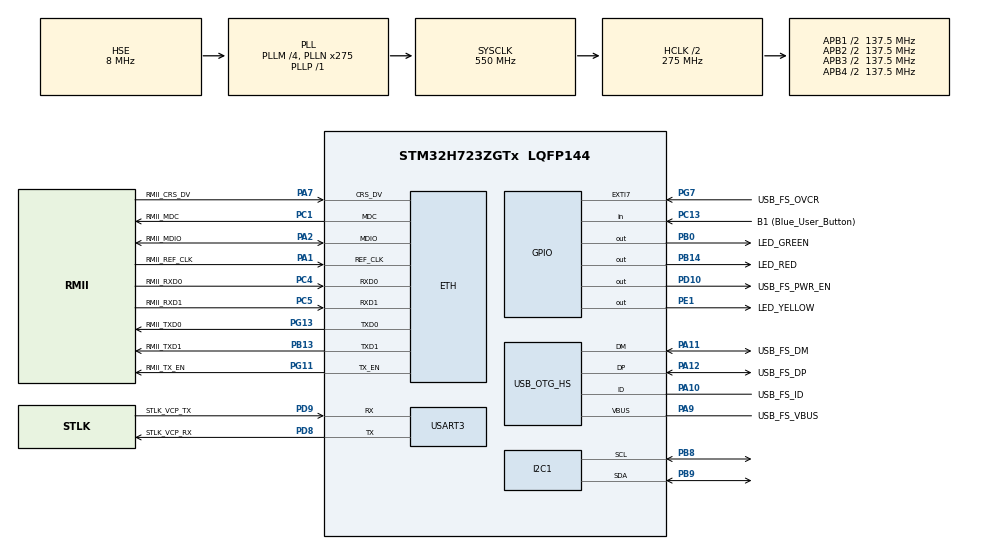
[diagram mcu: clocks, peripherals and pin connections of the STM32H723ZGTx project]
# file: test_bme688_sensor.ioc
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Mcu.Family=STM32H7
PH0-OSC_IN.Signal=RCC_OSC_IN
RCC.CortexFreq_Value=550000000
RCC.HPRE=RCC_HCLK_DIV2
PB14.GPIO_Label=LED_RED
RCC.PLLFRACN=0
PA13(JTMS/SWDIO).Signal=DEBUG_JTMS-SWDIO
PA11.Mode=OTG/Dual-Role-Device-FS
PB0.GPIO_Label=LED_GREEN
PC5.Mode=RMII
PC13.GPIO_Label=B1 (Blue_User_Button)
PB13.GPIO_Label=RMII_TXD1
PB13.Signal=ETH_TXD1
PG13.Signal=ETH_TXD0
PD9.Mode=Asynchronous
PG11.Signal=ETH_TX_EN
RCC.SYSCLKSource=RCC_SYSCLKSOURCE_PLLCLK
ProjectManager.StackSize=0x400
PA13(JTMS/SWDIO).Mode=Trace_Asynchronous_SW
USART3.VirtualMode-Asynchronous=VM_ASYNC
PA12.Signal=USB_OTG_HS_DP
RCC.HCLKFreq_Value=275000000
PD8.Signal=USART3_TX
PE1.Signal=GPIO_Output
PB3(JTDO/TRACESWO).GPIO_Label=SWO
PH0-OSC_IN.Mode=HSE-External-Clock-Source
PH0-OSC_IN.GPIO_Label=MCO
RCC.HSE_VALUE=8000000
RCC.DIVM2=1
RCC.DIVM1=4
PC14-OSC32_IN.Mode=LSE-External-Oscillator
PA14(JTCK/SWCLK).GPIO_Label=SWCLK
PC4.GPIO_Label=RMII_RXD0
PB3(JTDO/TRACESWO).Signal=DEBUG_JTDO-SWO
PA10.GPIO_Label=USB_FS_ID
PG13.Mode=RMII
RCC.APB3Freq_Value=137500000
PB9.Signal=I2C1_SDA
Mcu.Package=LQFP144
RCC.D1PPRE=RCC_APB3_DIV2
PB3(JTDO/TRACESWO).Mode=Trace_Asynchronous_SW
PA2.GPIO_Label=RMII_MDIO
PA10.Signal=USB_OTG_HS_ID
RCC.APB4Freq_Value=137500000
PA13(JTMS/SWDIO).GPIO_Label=SWDIO
PG11.GPIO_Label=RMII_TX_EN
PC5.Signal=ETH_RXD1
PB13.Mode=RMII
PC4.Mode=RMII
RCC.PLLSourceVirtual=RCC_PLLSOURCE_HSE
PC15-OSC32_OUT.Mode=LSE-External-Oscillator
RCC.DIVQ1=4
PA7.Mode=RMII
PG7.Signal=GPXTI7
PD9.GPIO_Label=STLK_VCP_TX
PA10.Mode=OTG/Dual-Role-Device-FS
PC13.Signal=GPIO_Input
PA9.GPIO_Label=USB_FS_VBUS
PC4.Signal=ETH_RXD0
RCC.D2PPRE2=RCC_APB2_DIV2
PA11.GPIO_Label=USB_FS_DM
RCC.D2PPRE1=RCC_APB1_DIV2
PD9.Signal=USART3_RX
RCC.DIVP1=1
PC14-OSC32_IN.Signal=RCC_OSC32_IN
PG13.GPIO_Label=RMII_TXD0
PA12.GPIO_Label=USB_FS_DP
PD8.GPIO_Label=STLK_VCP_RX
PD10.Signal=GPIO_Output
PA9.Mode=Activate_VBUS_FS
ProjectManager.TargetToolchain=STM32CubeIDE
PB9.Mode=I2C
PA9.Signal=USB_OTG_HS_VBUS
RCC.DIVN2=19
I2C1.Timing=0x60404E72
RCC.DIVN1=275
RCC.USBFreq_Value=48000000
PD10.GPIO_Label=USB_FS_PWR_EN
PD8.Mode=Asynchronous
PC15-OSC32_OUT.Signal=RCC_OSC32_OUT
PA1.Signal=ETH_REF_CLK
PB14.Signal=GPIO_Output
RCC.USBCLockSelection=RCC_USBCLKSOURCE_HSI48
board=NUCLEO-H723ZG
PE1.GPIO_Label=LED_YELLOW
RCC.APB2Freq_Value=137500000
PA1.Mode=RMII
PG7.GPIO_Label=USB_FS_OVCR
RCC.ADCFreq_Value=76000000
PA1.GPIO_Label=RMII_REF_CLK
PC1.GPIO_Label=RMII_MDC
PH1-OSC_OUT.Signal=RCC_OSC_OUT
PA14(JTCK/SWCLK).Mode=Trace_Asynchronous_SW
Mcu.Name=STM32H723ZGTx
PA2.Signal=ETH_MDIO
RCC.SYSCLKFreq_VALUE=550000000
ETH.MediaInterface=HAL_ETH_RMII_MODE
PA7.GPIO_Label=RMII_CRS_DV
PA12.Mode=OTG/Dual-Role-Device-FS
PC5.GPIO_Label=RMII_RXD1
PG11.Mode=RMII
PA11.Signal=USB_OTG_HS_DM
ProjectManager.HeapSize=0x200
NVIC.PriorityGroup=NVIC_PRIORITYGROUP_4
PB8.Mode=I2C
PA2.Mode=RMII
PB8.Signal=I2C1_SCL
RCC.D3PPRE=RCC_APB4_DIV2
PA14(JTCK/SWCLK).Signal=DEBUG_JTCK-SWCLK
RCC.APB1Freq_Value=137500000
PB0.Signal=GPIO_Output
PC1.Signal=ETH_MDC
PC1.Mode=RMII
PA7.Signal=ETH_CRS_DV

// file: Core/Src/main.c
/* USER CODE BEGIN Header */
/**
  ******************************************************************************
  * @file           : main.c
  * @brief          : Main program body
  ******************************************************************************
  * @attention
  *
  * <h2><center>&copy; Copyright (c) 2021 STMicroelectronics.
  * All rights reserved.</center></h2>
  *
  * This software component is licensed by ST under BSD 3-Clause license,
  * the "License"; You may not use this file except in compliance with the
  * License. You may obtain a copy of the License at:
  *                        opensource.org/licenses/BSD-3-Clause
  *
  ******************************************************************************
  */
/* USER CODE END Header */
#include "main.h"
#include "string.h"

/* USER CODE BEGIN Includes */
#include <stdio.h>
/* USER CODE END Includes */

/* USER CODE BEGIN PD */
/* Macro for count of samples to be displayed */
#define SAMPLE_COUNT  UINT16_C(30)
/* USER CODE END PD */

#if defined ( __ICCARM__ ) /*!< IAR Compiler */

#pragma location=0x30040000
ETH_DMADescTypeDef  DMARxDscrTab[ETH_RX_DESC_CNT]; /* Ethernet Rx DMA Descriptors */
#pragma location=0x30040060
ETH_DMADescTypeDef  DMATxDscrTab[ETH_TX_DESC_CNT]; /* Ethernet Tx DMA Descriptors */
#pragma location=0x30040200
uint8_t Rx_Buff[ETH_RX_DESC_CNT][ETH_MAX_PACKET_SIZE]; /* Ethernet Receive Buffers */

#elif defined ( __CC_ARM )  /* MDK ARM Compiler */

__attribute__((at(0x30040000))) ETH_DMADescTypeDef  DMARxDscrTab[ETH_RX_DESC_CNT]; /* Ethernet Rx DMA Descriptors */
__attribute__((at(0x30040060))) ETH_DMADescTypeDef  DMATxDscrTab[ETH_TX_DESC_CNT]; /* Ethernet Tx DMA Descriptors */
__attribute__((at(0x30040200))) uint8_t Rx_Buff[ETH_RX_DESC_CNT][ETH_MAX_PACKET_SIZE]; /* Ethernet Receive Buffer */

#elif defined ( __GNUC__ ) /* GNU Compiler */

ETH_DMADescTypeDef DMARxDscrTab[ETH_RX_DESC_CNT] __attribute__((section(".RxDecripSection"))); /* Ethernet Rx DMA Descriptors */
ETH_DMADescTypeDef DMATxDscrTab[ETH_TX_DESC_CNT] __attribute__((section(".TxDecripSection")));   /* Ethernet Tx DMA Descriptors */
uint8_t Rx_Buff[ETH_RX_DESC_CNT][ETH_MAX_PACKET_SIZE] __attribute__((section(".RxArraySection"))); /* Ethernet Receive Buffers */

#endif

ETH_TxPacketConfig TxConfig;

ETH_HandleTypeDef heth;

I2C_HandleTypeDef hi2c1;

UART_HandleTypeDef huart3;

/* USER CODE BEGIN PV */
//static const uint8_t BME688_ADDR = 0x76;
/* USER CODE END PV */

void SystemClock_Config(void);
static void MX_GPIO_Init(void);
static void MX_ETH_Init(void);
static void MX_USART3_UART_Init(void);
static void MX_USB_OTG_HS_USB_Init(void);
static void MX_I2C1_Init(void);
/* USER CODE BEGIN PFP */
void bme68x_check_rslt(const char api_name[], int8_t rslt);

int8_t bme68x_interface_init(struct bme68x_dev *bme, uint8_t intf);
BME68X_INTF_RET_TYPE bme68x_i2c_read(uint8_t reg_addr, uint8_t *reg_data, uint32_t len,void *intf_ptr);
BME68X_INTF_RET_TYPE bme68x_i2c_write(uint8_t reg_addr, const uint8_t *reg_data, uint32_t len,void *intf_ptr);

void bme68x_delay_us(uint32_t period, void *intf_ptr);
void SensorError_Handler(void);
/* USER CODE END PFP */

/* USER CODE BEGIN 0 */
void bme68x_check_rslt(const char api_name[], int8_t rslt)
{
	uint8_t buf[64];
	char msg[64];

    switch (rslt)
    {
        case BME68X_OK:
        	sprintf(msg, "API name [%s]  Error [%d] : Sensor Init OK.\r\n", api_name, rslt);
        	strcpy((char*)buf, msg);
        	HAL_UART_Transmit(&huart3, buf, strlen((char*)buf), HAL_MAX_DELAY);
            /* Do nothing */
            break;
        case BME68X_E_NULL_PTR:
        	sprintf(msg, "API name [%s]  Error [%d] : Null pointer\r\n", api_name, rslt);
			strcpy((char*)buf, msg);
			HAL_UART_Transmit(&huart3, buf, strlen((char*)buf), HAL_MAX_DELAY);
			SensorError_Handler();
            break;
        case BME68X_E_COM_FAIL:
            sprintf(msg,"API name [%s]  Error [%d] : Communication failure\r\n", api_name, rslt);
            strcpy((char*)buf, msg);
			HAL_UART_Transmit(&huart3, buf, strlen((char*)buf), HAL_MAX_DELAY);
			SensorError_Handler();
            break;
        case BME68X_E_INVALID_LENGTH:
            sprintf(msg,"API name [%s]  Error [%d] : Incorrect length parameter\r\n", api_name, rslt);
            strcpy((char*)buf, msg);
			HAL_UART_Transmit(&huart3, buf, strlen((char*)buf), HAL_MAX_DELAY);
			SensorError_Handler();
            break;
        case BME68X_E_DEV_NOT_FOUND:
            sprintf(msg,"API name [%s]  Error [%d] : Device not found\r\n", api_name, rslt);
            strcpy((char*)buf, msg);
			HAL_UART_Transmit(&huart3, buf, strlen((char*)buf), HAL_MAX_DELAY);
			SensorError_Handler();
            break;
        case BME68X_E_SELF_TEST:
            sprintf(msg,"API name [%s]  Error [%d] : Self test error\r\n", api_name, rslt);
            strcpy((char*)buf, msg);
			HAL_UART_Transmit(&huart3, buf, strlen((char*)buf), HAL_MAX_DELAY);
			SensorError_Handler();
            break;
        case BME68X_W_NO_NEW_DATA:
            sprintf(msg,"API name [%s]  Warning [%d] : No new data found\r\n", api_name, rslt);
            strcpy((char*)buf, msg);
			HAL_UART_Transmit(&huart3, buf, strlen((char*)buf), HAL_MAX_DELAY);
			SensorError_Handler();
            break;
        default:
            sprintf(msg,"API name [%s]  Error [%d] : Unknown error code\r\n", api_name, rslt);
            strcpy((char*)buf, msg);
			HAL_UART_Transmit(&huart3, buf, strlen((char*)buf), HAL_MAX_DELAY);
			SensorError_Handler();
            break;
    }
}

int8_t bme68x_interface_init(struct bme68x_dev *bme, uint8_t intf)
{
	int8_t rslt = BME68X_OK;
	uint8_t dev_addr;

	if(bme != NULL) {
		/* Bus configuration : I2C */
		if (intf == BME68X_I2C_INTF)
		{
			dev_addr = BME68X_I2C_ADDR_LOW;
			bme->read = bme68x_i2c_read;
			bme->write = bme68x_i2c_write;
			bme->intf = BME68X_I2C_INTF;
		}

		bme->delay_us = bme68x_delay_us;
		bme->intf_ptr = &dev_addr;
		bme->amb_temp = 25; /* The ambient temperature in deg C is used for defining the heater temperature */
	} else {
		rslt = BME68X_E_NULL_PTR;
	}

	return rslt;
}

/*!
 * I2C read function map to STM32
 */
BME68X_INTF_RET_TYPE bme68x_i2c_read(uint8_t reg_addr, uint8_t *reg_data, uint32_t len, void *intf_ptr)
{
	HAL_StatusTypeDef status;
	uint8_t array[32] = { 0 };
	uint8_t stringpos = 0;
	array[0] = reg_addr;

	uint8_t dev_addr = 0x76 << 1; // Use 8-bit address

	while (HAL_I2C_IsDeviceReady(&hi2c1, dev_addr, 3, 100)!= HAL_OK)
	{

	}

	status = HAL_I2C_Mem_Read(&hi2c1,	    // I2C handle
				dev_addr,					// I2C address, left aligned
				(uint8_t) reg_addr,			// register address
				I2C_MEMADD_SIZE_8BIT,	    // BME688 uses 8bit register addresses
				(uint8_t*) (&array),		// write returned data to this variable
				len,						// how many bytes to expect returned
				100);					    // timeout

    if(status == HAL_OK) {
    	for (stringpos = 0; stringpos < len; stringpos++) {
    			*(reg_data + stringpos) = array[stringpos];
    		}
        return status;
	} else {
		SensorError_Handler();
		//return HAL_ERROR;
	}
}

/*!
 * I2C write function map to STM32
 */
BME68X_INTF_RET_TYPE bme68x_i2c_write(uint8_t reg_addr, const uint8_t *reg_data, uint32_t len, void *intf_ptr)
{
	HAL_StatusTypeDef status;
	uint8_t dev_addr = 0x76 << 1; // Use 8-bit address

	while (HAL_I2C_IsDeviceReady(&hi2c1, dev_addr, 3, 100)!= HAL_OK)
	{

	}

    status = HAL_I2C_Mem_Write(&hi2c1,	    // I2C handle
    			dev_addr,		            // I2C address, left aligned
    			(uint8_t) reg_addr,			// register address
    			I2C_MEMADD_SIZE_8BIT,	    // BME688 uses 8bit register addresses
    			(uint8_t*) (&reg_data),		// write returned data to reg_data
    			len,			        	// write how many bytes
    			100);					    // timeout

    if(status == HAL_OK) {
    	return status;
    } else {
    	SensorError_Handler();
    	//return HAL_ERROR;
    }
}

void bme68x_delay_us(uint32_t period, void *intf_ptr)
{
    HAL_Delay(period);
}
/* USER CODE END 0 */

int main(void)
{
  /* USER CODE BEGIN 1 */
  struct bme68x_dev bme ={0};
  struct bme68x_conf conf ={0};
  struct bme68x_heatr_conf heatr_conf = {0};
  struct bme68x_data data = {0};
  uint8_t rslt;
  uint32_t del_period;
  uint32_t time_ms = 0;
  uint8_t n_fields;
  uint16_t sample_count = 1;
  /* USER CODE END 1 */

  /* MCU Configuration--------------------------------------------------------*/

  /* Reset of all peripherals, Initializes the Flash interface and the Systick. */
  HAL_Init();

  /* Configure the system clock */
  SystemClock_Config();

  /* Initialize all configured peripherals */
  MX_GPIO_Init();
  MX_ETH_Init();
  MX_USART3_UART_Init();
  MX_USB_OTG_HS_USB_Init();
  MX_I2C1_Init();
  /* USER CODE BEGIN 2 */

  rslt = bme68x_interface_init(&bme, BME68X_I2C_INTF);
  bme68x_check_rslt("bme68x_interface_init", rslt);

  rslt = bme68x_init(&bme);
  bme68x_check_rslt("bme68x_init", rslt);

  conf.filter = BME68X_FILTER_OFF;
  conf.odr = BME68X_ODR_20_MS;//BME68X_ODR_NONE;
  conf.os_hum = BME68X_OS_16X;
  conf.os_pres = BME68X_OS_1X;
  conf.os_temp = BME68X_OS_2X;
  rslt = bme68x_set_conf(&conf, &bme);
  bme68x_check_rslt("bme68x_set_conf", rslt);

  heatr_conf.enable = BME68X_ENABLE;
  heatr_conf.heatr_temp = 300;
  heatr_conf.heatr_dur = 100;
  rslt = bme68x_set_heatr_conf(BME68X_FORCED_MODE, &heatr_conf, &bme);
  bme68x_check_rslt("bme68x_set_heatr_conf", rslt);

  while (sample_count <= SAMPLE_COUNT)
      {
          rslt = bme68x_set_op_mode(BME68X_FORCED_MODE, &bme);
          bme68x_check_rslt("bme68x_set_op_mode", rslt);

          /* Calculate delay period in microseconds */
          del_period = bme68x_get_meas_dur(BME68X_FORCED_MODE, &conf, &bme) + (heatr_conf.heatr_dur * 1000);
          bme.delay_us(del_period, bme.intf_ptr);

          //time_ms = coines_get_millis();

          /* Check if rslt == BME68X_OK, report or handle if otherwise */
          rslt = bme68x_get_data(BME68X_FORCED_MODE, &data, &n_fields, &bme);
          bme68x_check_rslt("bme68x_get_data", rslt);

          if (n_fields)
          {
  #ifdef BME68X_USE_FPU
              printf("%u, %lu, %.2f, %.2f, %.2f, %.2f, 0x%x\n",
                     sample_count,
                     (long unsigned int)time_ms,
                     data.temperature,
                     data.pressure,
                     data.humidity,
                     data.gas_resistance,
                     data.status);
  #else
              printf("%u, %lu, %d, %lu, %lu, %lu, 0x%x\n",
                     sample_count,
                     (long unsigned int)time_ms,
                     (data.temperature / 100),
                     (long unsigned int)data.pressure,
                     (long unsigned int)(data.humidity / 1000),
                     (long unsigned int)data.gas_resistance,
                     data.status);
  #endif
              sample_count++;
          }
      }

  /* USER CODE END 2 */

  /* Infinite loop */
  /* USER CODE BEGIN WHILE */
  while (1)
  {
	  HAL_GPIO_TogglePin(LED_GREEN_GPIO_Port, LED_GREEN_Pin);
	  HAL_Delay(500);
    /* USER CODE END WHILE */

  }
}

void SystemClock_Config(void)
{
  RCC_OscInitTypeDef RCC_OscInitStruct = {0};
  RCC_ClkInitTypeDef RCC_ClkInitStruct = {0};

  /** Supply configuration update enable
  */
  HAL_PWREx_ConfigSupply(PWR_LDO_SUPPLY);
  /** Configure the main internal regulator output voltage
  */
  __HAL_PWR_VOLTAGESCALING_CONFIG(PWR_REGULATOR_VOLTAGE_SCALE0);

  while(!__HAL_PWR_GET_FLAG(PWR_FLAG_VOSRDY)) {}
  /** Initializes the RCC Oscillators according to the specified parameters
  * in the RCC_OscInitTypeDef structure.
  */
  RCC_OscInitStruct.OscillatorType = RCC_OSCILLATORTYPE_HSI48|RCC_OSCILLATORTYPE_HSE;
  RCC_OscInitStruct.HSEState = RCC_HSE_BYPASS;
  RCC_OscInitStruct.HSI48State = RCC_HSI48_ON;
  RCC_OscInitStruct.PLL.PLLState = RCC_PLL_ON;
  RCC_OscInitStruct.PLL.PLLSource = RCC_PLLSOURCE_HSE;
  RCC_OscInitStruct.PLL.PLLM = 4;
  RCC_OscInitStruct.PLL.PLLN = 275;
  RCC_OscInitStruct.PLL.PLLP = 1;
  RCC_OscInitStruct.PLL.PLLQ = 4;
  RCC_OscInitStruct.PLL.PLLR = 2;
  RCC_OscInitStruct.PLL.PLLRGE = RCC_PLL1VCIRANGE_1;
  RCC_OscInitStruct.PLL.PLLVCOSEL = RCC_PLL1VCOWIDE;
  RCC_OscInitStruct.PLL.PLLFRACN = 0;
  if (HAL_RCC_OscConfig(&RCC_OscInitStruct) != HAL_OK)
  {
    Error_Handler();
  }
  /** Initializes the CPU, AHB and APB buses clocks
  */
  RCC_ClkInitStruct.ClockType = RCC_CLOCKTYPE_HCLK|RCC_CLOCKTYPE_SYSCLK
                              |RCC_CLOCKTYPE_PCLK1|RCC_CLOCKTYPE_PCLK2
                              |RCC_CLOCKTYPE_D3PCLK1|RCC_CLOCKTYPE_D1PCLK1;
  RCC_ClkInitStruct.SYSCLKSource = RCC_SYSCLKSOURCE_PLLCLK;
  RCC_ClkInitStruct.SYSCLKDivider = RCC_SYSCLK_DIV1;
  RCC_ClkInitStruct.AHBCLKDivider = RCC_HCLK_DIV2;
  RCC_ClkInitStruct.APB3CLKDivider = RCC_APB3_DIV2;
  RCC_ClkInitStruct.APB1CLKDivider = RCC_APB1_DIV2;
  RCC_ClkInitStruct.APB2CLKDivider = RCC_APB2_DIV2;
  RCC_ClkInitStruct.APB4CLKDivider = RCC_APB4_DIV2;

  if (HAL_RCC_ClockConfig(&RCC_ClkInitStruct, FLASH_LATENCY_3) != HAL_OK)
  {
    Error_Handler();
  }
}

static void MX_ETH_Init(void)
{

  heth.Instance = ETH;
  heth.Init.MACAddr[0] =   0x00;
  heth.Init.MACAddr[1] =   0x80;
  heth.Init.MACAddr[2] =   0xE1;
  heth.Init.MACAddr[3] =   0x00;
  heth.Init.MACAddr[4] =   0x00;
  heth.Init.MACAddr[5] =   0x00;
  heth.Init.MediaInterface = HAL_ETH_RMII_MODE;
  heth.Init.TxDesc = DMATxDscrTab;
  heth.Init.RxDesc = DMARxDscrTab;
  heth.Init.RxBuffLen = 1524;

  if (HAL_ETH_Init(&heth) != HAL_OK)
  {
    Error_Handler();
  }

  memset(&TxConfig, 0 , sizeof(ETH_TxPacketConfig));
  TxConfig.Attributes = ETH_TX_PACKETS_FEATURES_CSUM | ETH_TX_PACKETS_FEATURES_CRCPAD;
  TxConfig.ChecksumCtrl = ETH_CHECKSUM_IPHDR_PAYLOAD_INSERT_PHDR_CALC;
  TxConfig.CRCPadCtrl = ETH_CRC_PAD_INSERT;

}

static void MX_I2C1_Init(void)
{

  hi2c1.Instance = I2C1;
  hi2c1.Init.Timing = 0x60404E72;
  hi2c1.Init.OwnAddress1 = 0x76 << 1;
  hi2c1.Init.AddressingMode = I2C_ADDRESSINGMODE_7BIT;
  hi2c1.Init.DualAddressMode = I2C_DUALADDRESS_DISABLE;
  hi2c1.Init.OwnAddress2 = 0;
  hi2c1.Init.OwnAddress2Masks = I2C_OA2_NOMASK;
  hi2c1.Init.GeneralCallMode = I2C_GENERALCALL_DISABLE;
  hi2c1.Init.NoStretchMode = I2C_NOSTRETCH_DISABLE;
  if (HAL_I2C_Init(&hi2c1) != HAL_OK)
  {
    Error_Handler();
  }
  /** Configure Analogue filter
  */
  if (HAL_I2CEx_ConfigAnalogFilter(&hi2c1, I2C_ANALOGFILTER_ENABLE) != HAL_OK)
  {
    Error_Handler();
  }
  /** Configure Digital filter
  */
  if (HAL_I2CEx_ConfigDigitalFilter(&hi2c1, 0) != HAL_OK)
  {
    Error_Handler();
  }

}

static void MX_USART3_UART_Init(void)
{

  huart3.Instance = USART3;
  huart3.Init.BaudRate = 115200;
  huart3.Init.WordLength = UART_WORDLENGTH_8B;
  huart3.Init.StopBits = UART_STOPBITS_1;
  huart3.Init.Parity = UART_PARITY_NONE;
  huart3.Init.Mode = UART_MODE_TX_RX;
  huart3.Init.HwFlowCtl = UART_HWCONTROL_NONE;
  huart3.Init.OverSampling = UART_OVERSAMPLING_16;
  huart3.Init.OneBitSampling = UART_ONE_BIT_SAMPLE_DISABLE;
  huart3.Init.ClockPrescaler = UART_PRESCALER_DIV1;
  huart3.AdvancedInit.AdvFeatureInit = UART_ADVFEATURE_NO_INIT;
  if (HAL_UART_Init(&huart3) != HAL_OK)
  {
    Error_Handler();
  }
  if (HAL_UARTEx_SetTxFifoThreshold(&huart3, UART_TXFIFO_THRESHOLD_1_8) != HAL_OK)
  {
    Error_Handler();
  }
  if (HAL_UARTEx_SetRxFifoThreshold(&huart3, UART_RXFIFO_THRESHOLD_1_8) != HAL_OK)
  {
    Error_Handler();
  }
  if (HAL_UARTEx_DisableFifoMode(&huart3) != HAL_OK)
  {
    Error_Handler();
  }

}

static void MX_USB_OTG_HS_USB_Init(void)
{

}

static void MX_GPIO_Init(void)
{
  GPIO_InitTypeDef GPIO_InitStruct = {0};

  /* GPIO Ports Clock Enable */
  __HAL_RCC_GPIOC_CLK_ENABLE();
  __HAL_RCC_GPIOH_CLK_ENABLE();
  __HAL_RCC_GPIOA_CLK_ENABLE();
  __HAL_RCC_GPIOB_CLK_ENABLE();
  __HAL_RCC_GPIOD_CLK_ENABLE();
  __HAL_RCC_GPIOG_CLK_ENABLE();
  __HAL_RCC_GPIOE_CLK_ENABLE();

  /*Configure GPIO pin Output Level */
  HAL_GPIO_WritePin(GPIOB, LED_GREEN_Pin|LED_RED_Pin, GPIO_PIN_RESET);

  /*Configure GPIO pin Output Level */
  HAL_GPIO_WritePin(USB_FS_PWR_EN_GPIO_Port, USB_FS_PWR_EN_Pin, GPIO_PIN_RESET);

  /*Configure GPIO pin Output Level */
  HAL_GPIO_WritePin(LED_YELLOW_GPIO_Port, LED_YELLOW_Pin, GPIO_PIN_RESET);

  /*Configure GPIO pin : B1_Pin */
  GPIO_InitStruct.Pin = B1_Pin;
  GPIO_InitStruct.Mode = GPIO_MODE_INPUT;
  GPIO_InitStruct.Pull = GPIO_NOPULL;
  HAL_GPIO_Init(B1_GPIO_Port, &GPIO_InitStruct);

  /*Configure GPIO pins : LED_GREEN_Pin LED_RED_Pin */
  GPIO_InitStruct.Pin = LED_GREEN_Pin|LED_RED_Pin;
  GPIO_InitStruct.Mode = GPIO_MODE_OUTPUT_PP;
  GPIO_InitStruct.Pull = GPIO_NOPULL;
  GPIO_InitStruct.Speed = GPIO_SPEED_FREQ_LOW;
  HAL_GPIO_Init(GPIOB, &GPIO_InitStruct);

  /*Configure GPIO pin : USB_FS_PWR_EN_Pin */
  GPIO_InitStruct.Pin = USB_FS_PWR_EN_Pin;
  GPIO_InitStruct.Mode = GPIO_MODE_OUTPUT_PP;
  GPIO_InitStruct.Pull = GPIO_NOPULL;
  GPIO_InitStruct.Speed = GPIO_SPEED_FREQ_LOW;
  HAL_GPIO_Init(USB_FS_PWR_EN_GPIO_Port, &GPIO_InitStruct);

  /*Configure GPIO pin : USB_FS_OVCR_Pin */
  GPIO_InitStruct.Pin = USB_FS_OVCR_Pin;
  GPIO_InitStruct.Mode = GPIO_MODE_IT_RISING;
  GPIO_InitStruct.Pull = GPIO_NOPULL;
  HAL_GPIO_Init(USB_FS_OVCR_GPIO_Port, &GPIO_InitStruct);

  /*Configure GPIO pin : USB_FS_VBUS_Pin */
  GPIO_InitStruct.Pin = USB_FS_VBUS_Pin;
  GPIO_InitStruct.Mode = GPIO_MODE_INPUT;
  GPIO_InitStruct.Pull = GPIO_NOPULL;
  HAL_GPIO_Init(USB_FS_VBUS_GPIO_Port, &GPIO_InitStruct);

  /*Configure GPIO pin : USB_FS_ID_Pin */
  GPIO_InitStruct.Pin = USB_FS_ID_Pin;
  GPIO_InitStruct.Mode = GPIO_MODE_AF_PP;
  GPIO_InitStruct.Pull = GPIO_NOPULL;
  GPIO_InitStruct.Speed = GPIO_SPEED_FREQ_LOW;
  GPIO_InitStruct.Alternate = GPIO_AF10_OTG1_HS;
  HAL_GPIO_Init(USB_FS_ID_GPIO_Port, &GPIO_InitStruct);

  /*Configure GPIO pin : LED_YELLOW_Pin */
  GPIO_InitStruct.Pin = LED_YELLOW_Pin;
  GPIO_InitStruct.Mode = GPIO_MODE_OUTPUT_PP;
  GPIO_InitStruct.Pull = GPIO_NOPULL;
  GPIO_InitStruct.Speed = GPIO_SPEED_FREQ_LOW;
  HAL_GPIO_Init(LED_YELLOW_GPIO_Port, &GPIO_InitStruct);

}

/* USER CODE BEGIN 4 */
/**
  * @brief  This function is executed in case of BME688 sensor error occurrence.
  * @retval None
  */
void SensorError_Handler(void)
{
  uint8_t buf[64];
  /* User can add his own implementation to report the HAL error return state */
  strcpy((char*)buf, "BME688 Sensor Error Occurred.\r\n");
  HAL_UART_Transmit(&huart3, buf, strlen((char*)buf), HAL_MAX_DELAY);
  while (1)
  {
  }
}
/* USER CODE END 4 */

void Error_Handler(void)
{
  __disable_irq();
  while (1)
  {
  }
}

/************************ (C) COPYRIGHT STMicroelectronics *****END OF FILE****/
